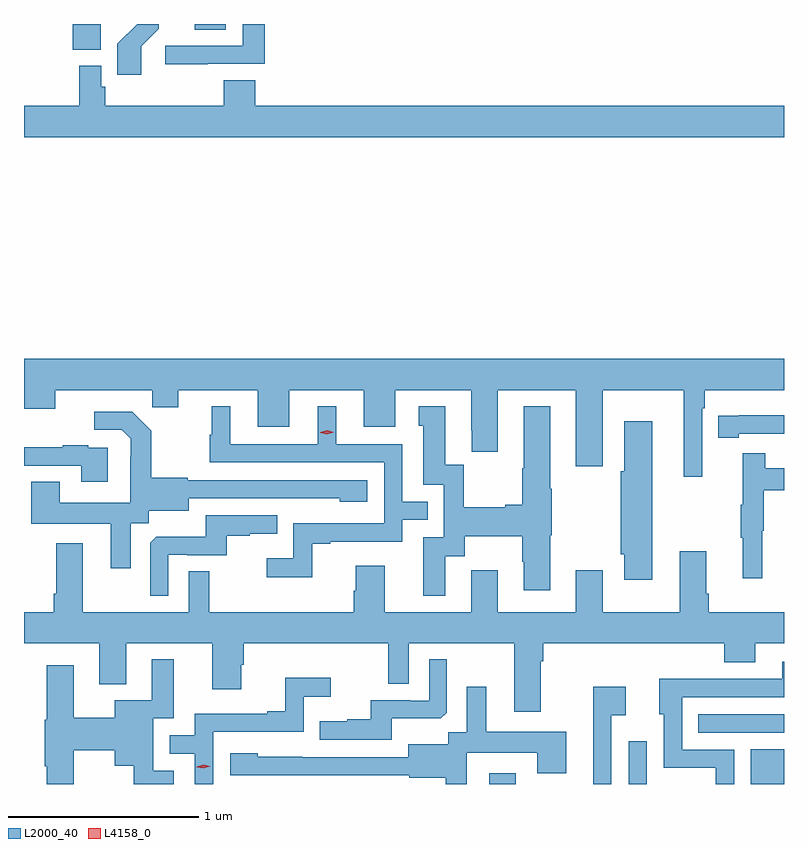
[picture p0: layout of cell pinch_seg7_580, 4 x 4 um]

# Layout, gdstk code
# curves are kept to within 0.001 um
import gdstk
lib = gdstk.Library(unit=1e-6, precision=1e-09)
def R(c, l, rs):  # rectangles x0, y0, x1, y1
    for r in rs: c.add(gdstk.rectangle(r[:2], r[2:], *l))
def P(c, l, *ps):  # polygons
    for p in ps: c.add(gdstk.Polygon(p, *l))
L2000_40 = (2000, 40)
L4158_0 = (4158, 0)

pinch_seg7_580 = lib.new_cell('pinch_seg7_580')
R(pinch_seg7_580, L2000_40, [(215.933,1031.843,216.073,1031.899), (216.666,1031.843,216.762,1032.067), (217.31,1031.843,217.484,1032.025), (217.033,1032.114,217.484,1032.21), (213.74,1035.707,213.889,1035.843), (214.382,1035.814,214.546,1035.843)])
P(pinch_seg7_580, L2000_40, [(214.451,1035.633),(214.751,1035.633),(214.751,1035.843),(214.635,1035.843),(214.635,1035.729),(214.227,1035.729),(214.227,1035.631),(214.451,1035.631)],
  [(214.102,1035.727),(214.192,1035.817),(214.192,1035.843),(214.081,1035.843),(213.976,1035.738),(213.976,1035.576),(214.102,1035.576)],
  [(217.484,1035.412),(214.7,1035.412),(214.7,1035.548),(214.535,1035.548),(214.535,1035.412),(213.911,1035.412),(213.911,1035.513),(213.891,1035.513),(213.891,1035.622),(213.775,1035.622),(213.775,1035.412),(213.484,1035.412),(213.484,1035.248),(217.484,1035.248)],
  [(217.053,1033.82),(217.067,1033.82),(217.067,1033.916),(217.484,1033.916),(217.484,1034.08),(213.484,1034.08),(213.484,1033.916),(213.485,1033.916),(213.485,1033.817),(213.649,1033.817),(213.649,1033.916),(214.159,1033.916),(214.159,1033.826),(214.297,1033.826),(214.297,1033.916),(214.715,1033.916),(214.715,1033.722),(214.879,1033.722),(214.879,1033.916),(215.273,1033.916),(215.273,1033.722),(215.437,1033.722),(215.437,1033.916),(215.837,1033.916),(215.837,1033.705),(215.84,1033.705),(215.84,1033.593),(215.977,1033.593),(215.977,1033.916),(216.389,1033.916),(216.389,1033.515),(216.529,1033.515),(216.529,1033.916),(216.956,1033.916),(216.956,1033.461),(217.053,1033.461)],
  [(215.701,1033.042),(215.803,1033.042),(215.803,1033.148),(216.106,1033.148),(216.106,1033.014),(216.113,1033.014),(216.113,1032.864),(216.253,1032.864),(216.253,1033.152),(216.261,1033.152),(216.261,1033.396),(216.253,1033.396),(216.253,1033.831),(216.113,1033.831),(216.113,1033.505),(216.106,1033.505),(216.106,1033.313),(216.017,1033.313),(216.017,1033.3),(215.799,1033.3),(215.799,1033.523),(215.701,1033.523),(215.701,1033.831),(215.561,1033.831),(215.561,1033.728),(215.585,1033.728),(215.585,1033.419),(215.694,1033.419),(215.694,1033.143),(215.585,1033.143),(215.585,1032.834),(215.701,1032.834)],
  [(215.001,1033.107),(215.095,1033.107),(215.095,1033.119),(215.475,1033.119),(215.475,1033.233),(215.609,1033.233),(215.609,1033.329),(215.475,1033.329),(215.475,1033.632),(215.128,1033.632),(215.128,1033.831),(215.03,1033.831),(215.03,1033.632),(214.57,1033.632),(214.57,1033.831),(214.472,1033.831),(214.472,1033.68),(214.461,1033.68),(214.461,1033.536),(215.379,1033.536),(215.379,1033.215),(214.902,1033.215),(214.902,1033.03),(214.761,1033.03),(214.761,1032.932),(215.001,1032.932)],
  [(214.045,1033.216),(214.14,1033.216),(214.14,1033.28),(214.351,1033.28),(214.351,1033.347),(215.145,1033.346),(215.145,1033.328),(215.29,1033.328),(215.29,1033.443),(214.347,1033.443),(214.347,1033.456),(214.155,1033.456),(214.155,1033.701),(214.055,1033.801),(213.855,1033.801),(213.855,1033.707),(213.999,1033.707),(214.046,1033.66),(214.046,1033.565),(214.044,1033.565),(214.044,1033.324),(213.673,1033.324),(213.673,1033.433),(213.521,1033.433),(213.521,1033.214),(213.941,1033.214),(213.941,1032.978),(214.045,1032.978)],
  [(217.246,1033.686),(217.484,1033.686),(217.484,1033.783),(217.246,1033.783),(217.246,1033.782),(217.138,1033.782),(217.138,1033.666),(217.246,1033.666)],
  [(216.79,1033.753),(216.644,1033.753),(216.644,1033.489),(216.626,1033.489),(216.626,1033.053),(216.644,1033.053),(216.644,1032.918),(216.79,1032.918)],
  [(213.925,1033.614),(213.821,1033.614),(213.821,1033.627),(213.689,1033.627),(213.689,1033.616),(213.484,1033.616),(213.484,1033.518),(213.785,1033.518),(213.785,1033.434),(213.925,1033.434)],
  [(217.37,1033.176),(217.378,1033.176),(217.378,1033.39),(217.484,1033.39),(217.484,1033.506),(217.385,1033.506),(217.385,1033.585),(217.268,1033.585),(217.268,1033.313),(217.257,1033.313),(217.257,1033.139),(217.268,1033.139),(217.268,1032.927),(217.37,1032.927)],
  [(214.242,1033.05),(214.342,1033.05),(214.342,1033.047),(214.55,1033.047),(214.55,1033.149),(214.673,1033.149),(214.673,1033.16),(214.817,1033.16),(214.817,1033.257),(214.44,1033.257),(214.44,1033.145),(214.181,1033.145),(214.149,1033.113),(214.149,1032.833),(214.242,1032.833)],
  [(217.075,1032.844),(217.075,1033.069),(216.935,1033.069),(216.935,1032.748),(216.529,1032.748),(216.529,1032.967),(216.389,1032.967),(216.389,1032.748),(215.977,1032.748),(215.977,1032.967),(215.837,1032.967),(215.837,1032.748),(215.383,1032.748),(215.383,1032.991),(215.231,1032.991),(215.231,1032.861),(215.219,1032.861),(215.219,1032.748),(214.459,1032.748),(214.459,1032.962),(214.35,1032.962),(214.35,1032.748),(213.793,1032.748),(213.793,1033.111),(213.653,1033.111),(213.653,1032.844),(213.641,1032.844),(213.641,1032.748),(213.484,1032.748),(213.484,1032.584),(213.881,1032.584),(213.881,1032.368),(214.021,1032.368),(214.021,1032.584),(214.475,1032.584),(214.475,1032.342),(214.627,1032.342),(214.627,1032.471),(214.64,1032.471),(214.64,1032.584),(215.4,1032.584),(215.4,1032.37),(215.508,1032.37),(215.508,1032.584),(216.065,1032.584),(216.065,1032.222),(216.205,1032.222),(216.205,1032.488),(216.218,1032.488),(216.218,1032.584),(217.169,1032.584),(217.169,1032.485),(217.333,1032.485),(217.333,1032.584),(217.484,1032.584),(217.484,1032.748),(217.088,1032.748),(217.088,1032.844)],
  [(213.745,1032.02),(213.962,1032.02),(213.962,1031.939),(214.061,1031.939),(214.061,1031.843),(214.273,1031.843),(214.273,1031.913),(214.164,1031.913),(214.164,1032.189),(214.273,1032.189),(214.273,1032.499),(214.157,1032.499),(214.157,1032.283),(213.962,1032.283),(213.962,1032.192),(213.745,1032.192),(213.745,1032.469),(213.605,1032.469),(213.605,1032.18),(213.593,1032.18),(213.593,1031.936),(213.605,1031.936),(213.605,1031.843),(213.745,1031.843)],
  [(215.419,1032.188),(215.677,1032.188),(215.709,1032.219),(215.709,1032.499),(215.616,1032.499),(215.616,1032.282),(215.516,1032.282),(215.516,1032.285),(215.309,1032.285),(215.309,1032.184),(215.185,1032.184),(215.185,1032.172),(215.041,1032.172),(215.041,1032.075),(215.419,1032.075)],
  [(217.221,1032.024),(216.948,1032.024),(216.948,1032.3),(217.484,1032.3),(217.484,1032.487),(217.475,1032.487),(217.475,1032.396),(217.045,1032.396),(217.045,1032.398),(216.827,1032.398),(216.827,1032.21),(216.852,1032.21),(216.852,1031.928),(217.125,1031.928),(217.125,1031.843),(217.221,1031.843)],
  [(214.479,1032.117),(214.956,1032.117),(214.956,1032.302),(215.098,1032.302),(215.098,1032.401),(214.858,1032.401),(214.858,1032.226),(214.763,1032.226),(214.763,1032.213),(214.383,1032.213),(214.383,1032.099),(214.25,1032.099),(214.25,1032.003),(214.383,1032.003),(214.383,1031.843),(214.479,1031.843)],
  [(216.576,1032.206),(216.652,1032.206),(216.652,1032.355),(216.479,1032.355),(216.479,1031.843),(216.576,1031.843)],
  [(215.814,1032.008),(216.185,1032.008),(216.185,1031.899),(216.337,1031.899),(216.337,1032.118),(215.917,1032.118),(215.917,1032.355),(215.813,1032.355),(215.813,1032.116),(215.718,1032.116),(215.718,1032.052),(215.507,1032.052),(215.507,1031.985),(214.949,1031.985),(214.949,1031.986),(214.713,1031.986),(214.713,1032.004),(214.569,1032.004),(214.569,1031.889),(215.511,1031.889),(215.511,1031.877),(215.703,1031.877),(215.703,1031.843),(215.814,1031.843)])
P(pinch_seg7_580, L4158_0, [(215.079,1033.684),(215.044,1033.693),(215.043,1033.693),(215.044,1033.694),(215.079,1033.704),(215.114,1033.695),(215.115,1033.695),(215.114,1033.695)],
  [(214.43,1031.925),(214.394,1031.932),(214.394,1031.932),(214.394,1031.933),(214.428,1031.945),(214.463,1031.937),(214.463,1031.937),(214.463,1031.937)])

lib.write_gds('pinch_seg7_580.gds')
